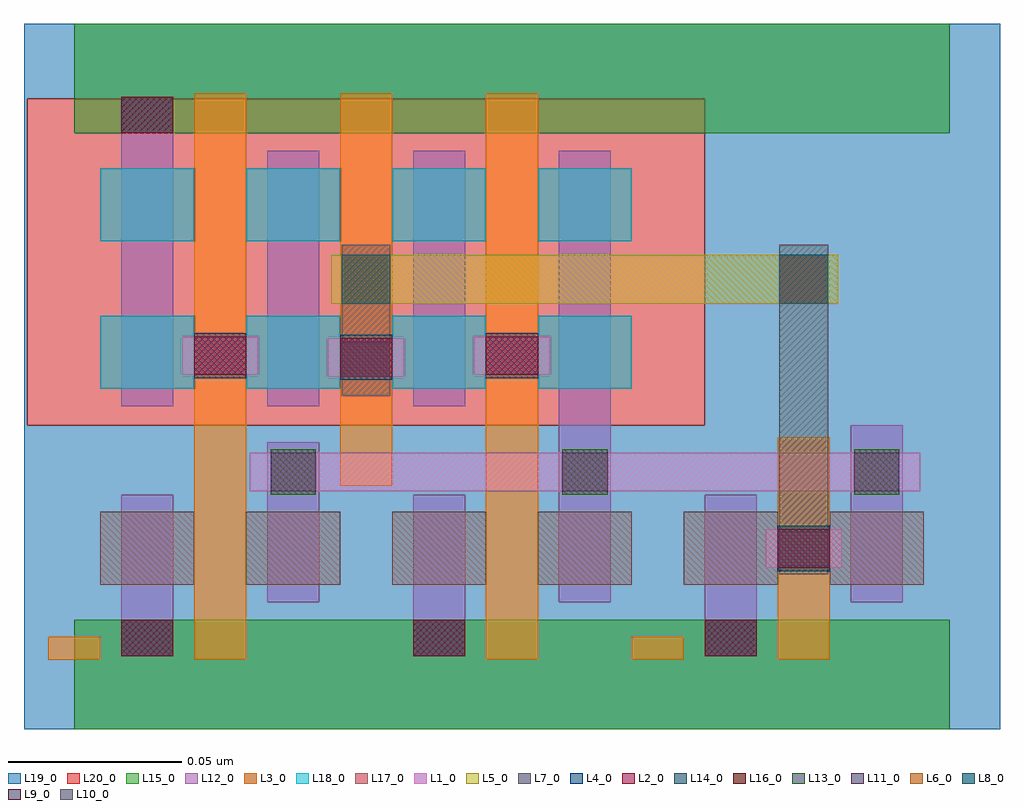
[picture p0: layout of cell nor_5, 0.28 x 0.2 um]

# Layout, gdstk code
import gdstk
lib = gdstk.Library(unit=1e-6, precision=2.5e-10)
def R(c, l, rs):  # rectangles x0, y0, x1, y1
    for r in rs: c.add(gdstk.rectangle(r[:2], r[2:], *l))
def A(c, l, x, y, w, h, nx, ny, dx, dy):  # array of equal rectangles
    R(c, l, [(x+i*dx, y+j*dy, x+i*dx+w, y+j*dy+h) for i in range(nx) for j in range(ny)])
def P(c, l, *ps):  # polygons
    for p in ps: c.add(gdstk.Polygon(p, *l))
L1_0 = (1, 0)
L2_0 = (2, 0)
L3_0 = (3, 0)
L4_0 = (4, 0)
L5_0 = (5, 0)
L6_0 = (6, 0)
L7_0 = (7, 0)
L8_0 = (8, 0)
L9_0 = (9, 0)
L10_0 = (10, 0)
L11_0 = (11, 0)
L12_0 = (12, 0)
L13_0 = (13, 0)
L14_0 = (14, 0)
L15_0 = (15, 0)
L16_0 = (16, 0)
L17_0 = (17, 0)
L18_0 = (18, 0)
L19_0 = (19, 0)
L20_0 = (20, 0)

nor_5 = lib.new_cell('nor_5')
R(nor_5, L1_0, [(0.11,-0.008,0.132,0.003), (-0.0385,0.014,0.1545,0.025), (-0.016,0.047,0.006,0.058), (-0.058,0.0475,-0.036,0.0585), (0.026,0.0475,0.048,0.0585)])
R(nor_5, L2_0, [(0.1135,-0.008,0.1285,0.003), (-0.0125,0.047,0.0025,0.058), (-0.0545,0.0475,-0.0395,0.0585), (0.0295,0.0475,0.0445,0.0585)])
R(nor_5, L3_0, [(-0.0965,-0.0345,-0.0815,-0.028), (-0.0545,-0.0345,-0.0395,0.1285), (0.0295,-0.0345,0.0445,0.1285), (0.0715,-0.0345,0.0865,-0.028), (0.1135,-0.0345,0.1285,0.0295), (-0.0125,0.0155,0.0025,0.1285)])
R(nor_5, L4_0, [(0.1135,-0.009,0.1285,0.004), (-0.0125,0.046,0.0025,0.059), (-0.0545,0.0465,-0.0395,0.0595), (0.0295,0.0465,0.0445,0.0595)])
R(nor_5, L5_0, [(-0.015,0.068,0.131,0.082)])
R(nor_5, L6_0, [(-0.012,0.068,0.002,0.082), (0.114,0.068,0.128,0.082)])
R(nor_5, L7_0, [(0.114,-0.01,0.128,0.085), (-0.012,0.0415,0.002,0.085)])
R(nor_5, L8_0, [(-0.012,0.068,0.002,0.082), (0.114,0.068,0.128,0.082)])
R(nor_5, L9_0, [(0.114,-0.0075,0.128,0.0025), (-0.012,0.047,0.002,0.057)])
R(nor_5, L10_0, [(0.114,-0.0075,0.128,0.0025), (-0.012,0.047,0.002,0.057)])
A(nor_5, L11_0, -0.0325, 0.014, 0.013, 0.011, 3, 1, 0.084, 0)
A(nor_5, L12_0, -0.0755, -0.0335, 0.015, 0.0465, 3, 1, 0.084, 0)
R(nor_5, L12_0, [(-0.0335,-0.018,-0.0185,0.028), (0.0505,-0.018,0.0655,0.112), (0.1345,-0.018,0.1495,0.033), (-0.0755,0.0385,-0.0605,0.1275), (-0.0335,0.0385,-0.0185,0.112), (0.0085,0.0385,0.0235,0.112)])
A(nor_5, L13_0, -0.0325, 0.013, 0.013, 0.013, 3, 1, 0.084, 0)
A(nor_5, L14_0, -0.0755, -0.0335, 0.015, 0.0105, 3, 1, 0.084, 0)
R(nor_5, L14_0, [(-0.0755,0.117,-0.0605,0.1275)])
R(nor_5, L15_0, [(-0.089,-0.0545,0.163,-0.023), (-0.089,0.117,0.163,0.1485)])
A(nor_5, L16_0, -0.0755, -0.0335, 0.015, 0.0105, 3, 1, 0.084, 0)
R(nor_5, L16_0, [(-0.0755,0.117,-0.0605,0.1275)])
A(nor_5, L17_0, -0.0815, -0.013, 0.027, 0.021, 6, 1, 0.042, 0)
A(nor_5, L18_0, -0.0815, 0.0435, 0.027, 0.021, 4, 2, 0.042, 0.0425)
P(nor_5, L19_0, [(0.1775,0.1485),(0.1775,0.127),(-0.1025,0.127),(-0.1025,0.033),(0.0925,0.033),(0.0925,0.127),(0.1775,0.127),(0.1775,-0.0545),(-0.1035,-0.0545),(-0.1035,0.1485)])
R(nor_5, L20_0, [(-0.1025,0.033,0.0925,0.127)])

lib.write_gds('nor_5.gds')
